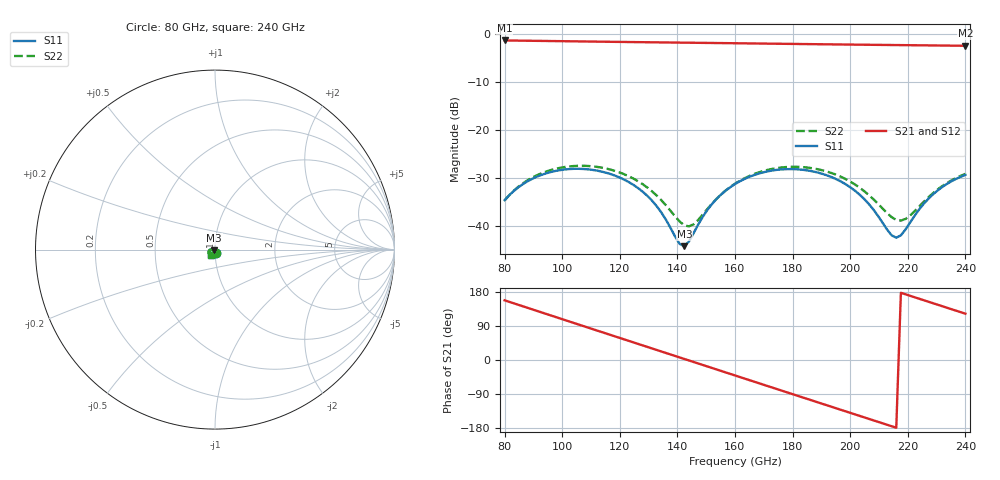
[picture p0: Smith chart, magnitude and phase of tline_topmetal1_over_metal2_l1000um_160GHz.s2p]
#  GHZ S DB R 50
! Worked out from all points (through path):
!   101 points, 80 GHz to 240 GHz, reference 50 ohm
!   highest |S21| = -1.35 dB at 80 GHz (marker M1); lowest = -2.5 dB at 240 GHz (marker M2)
!   group delay of S21, straight-line fit = 6.86 ps
!   lowest |S11| = -44.1 dB at 142.4 GHz (marker M3), VSWR 1.01, Z = 49.6 - j0.46 ohm
!   |S11| at or under -10 dB: start of sweep to end of sweep
!   |S22| runs from -40.0 to -27.4 dB; largest |S21 - S12| = 9.3e-14
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80  -34.57 -70.5  -1.35 157.5  -1.35 157.5  -34.63 -73.6
86.4  -31.21 -81.3  -1.39 141.6  -1.39 141.6  -31.04 -82.0
94.4  -28.98 -99.2  -1.45 121.7  -1.45 121.7  -28.61 -98.4
107.2  -28.07 -130.0  -1.55 89.9  -1.55 89.9  -27.42 -127.4
115.2  -28.85 -148.8  -1.61 70.1  -1.61 70.1  -27.97 -145.0
123.2  -30.83 -166.1  -1.67 50.3  -1.67 50.3  -29.62 -160.9
129.6  -33.69 -177.1  -1.72 34.4  -1.72 34.4  -31.96 -170.5
134.4  -37.10 179.9  -1.75 22.5  -1.75 22.5  -34.56 -173.0
140.8  -43.67 -151.4  -1.79 6.7  -1.79 6.7  -39.02 -157.5
142.4  -44.13 -131.7  -1.80 2.8  -1.80 2.8  -39.80 -147.4
145.6  -41.45 -101.3  -1.83 -5.2  -1.83 -5.2  -39.59 -123.9
152  -35.37 -91.2  -1.87 -21.0  -1.87 -21.0  -35.29 -102.4
160  -31.22 -102.2  -1.92 -40.8  -1.92 -40.8  -31.14 -106.5
174.4  -28.27 -132.0  -2.03 -76.3  -2.03 -76.3  -27.90 -131.6
187.2  -28.60 -159.6  -2.12 -107.9  -2.12 -107.9  -27.96 -156.6
201.6  -32.57 174.3  -2.21 -143.3  -2.21 -143.3  -31.28 -179.5
206.4  -35.31 170.6  -2.24 -155.1  -2.24 -155.1  -33.46 177.7
214.4  -41.88 -163.5  -2.29 -174.8  -2.29 -174.8  -38.10 -165.7
216  -42.37 -148.1  -2.30 -178.8  -2.30 -178.8  -38.67 -156.8
219.2  -40.67 -120.8  -2.32 173.4  -2.32 173.4  -38.47 -137.2
228.8  -33.33 -108.3  -2.38 149.7  -2.38 149.7  -33.09 -115.6
240  -29.32 -125.8  -2.45 122.2  -2.45 122.2  -29.10 -127.6
